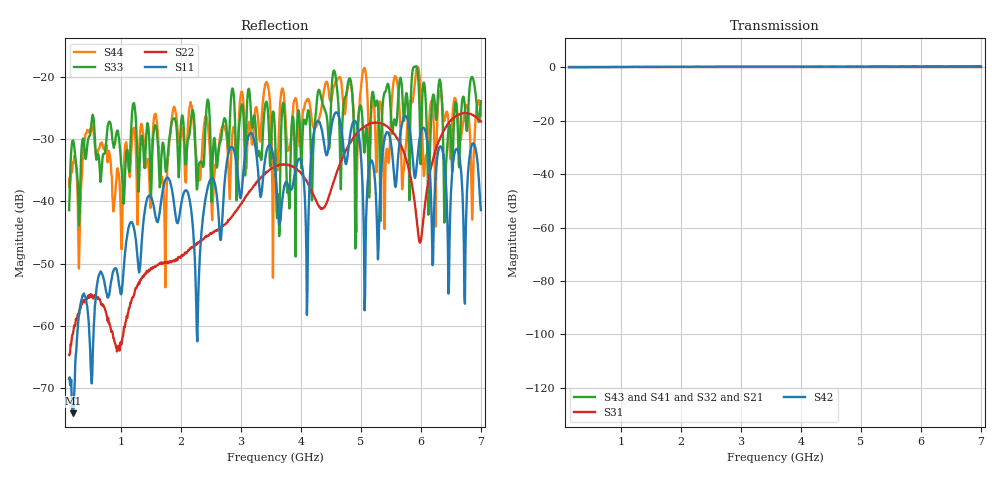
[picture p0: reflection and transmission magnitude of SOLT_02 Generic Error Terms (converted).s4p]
# Hz S RI R 50.000000
! Metas.Vna.Tools, 2.8.8664.20301
! Metas.Vna.Data, 2.8.8664.20285
! Created: UTC 2024.02.15 19:26:47
! FREQ  re:S1,1  im:S1,1  re:S1,2  im:S1,2  re:S1,3  im:S1,3  re:S1,4  im:S1,4
!  re:S2,1  im:S2,1  re:S2,2  im:S2,2  re:S2,3  im:S2,3  re:S2,4  im:S2,4
!  re:S3,1  im:S3,1  re:S3,2  im:S3,2  re:S3,3  im:S3,3  re:S3,4  im:S3,4
!  re:S4,1  im:S4,1  re:S4,2  im:S4,2  re:S4,3  im:S4,3  re:S4,4  im:S4,4
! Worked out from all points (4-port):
!   801 points, 130 MHz to 7 GHz, reference 50 ohm
!   strongest paths, dB at 130 MHz, 1.847 GHz, 3.565 GHz, 5.282 GHz, 7 GHz:
!     S42: 0.1, 0.2, 0.3, 0.4, 0.5
!     S31: 0.0, 0.0, 0.0, 0.0, 0.0
!     S43: -, -, -, -, -
!     S41: -, -, -, -, -
!     S32: -, -, -, -, -
!     S21: -, -, -, -, -
!   lowest |S11| = -74.1 dB at 198.7 MHz (marker M1), VSWR 1.00, Z = 50 + j0.0156 ohm
!   |S11| at or under -10 dB: start of sweep to end of sweep
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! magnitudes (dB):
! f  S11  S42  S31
! 130 MHz  -68.5  0.1  0.0
! 198.7 MHz  -74.1  0.1  0.0
! 3.153 GHz  -29.0  0.3  0.0
! 3.617 GHz  -41.3  0.3  0.0
! 5.394 GHz  -29.9  0.4  0.0
! 5.987 GHz  -29.4  0.4  0.0
! 7 GHz  -41.4  0.5  0.0
